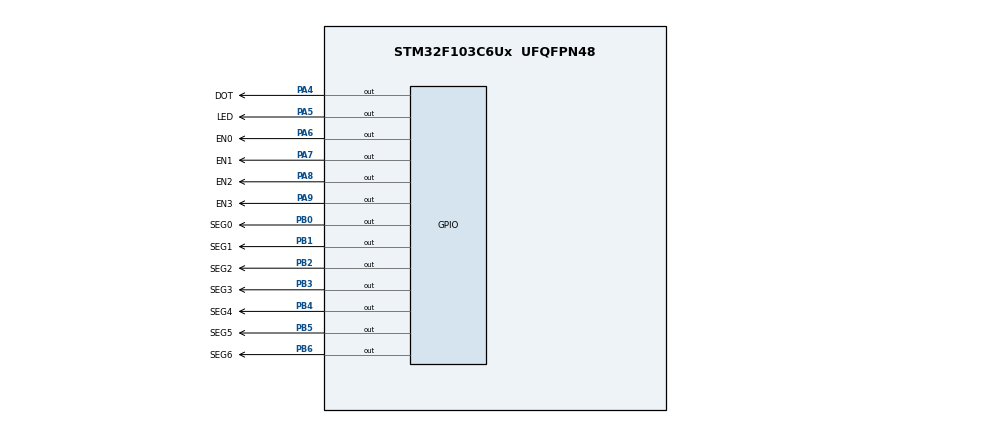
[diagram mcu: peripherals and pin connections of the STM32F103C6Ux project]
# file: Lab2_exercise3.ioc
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Mcu.Family=STM32F1
Mcu.Name=STM32F103C6Ux
Mcu.Package=UFQFPN48
NVIC.PriorityGroup=NVIC_PRIORITYGROUP_4
NVIC.TIM2_IRQn=true\:0\:0\:false\:false\:true\:true\:true
PA4.GPIO_Label=DOT
PA4.Signal=GPIO_Output
PA5.GPIO_Label=LED
PA5.Signal=GPIO_Output
PA6.GPIO_Label=EN0
PA6.Signal=GPIO_Output
PA7.GPIO_Label=EN1
PA7.Signal=GPIO_Output
PA8.GPIO_Label=EN2
PA8.Signal=GPIO_Output
PA9.GPIO_Label=EN3
PA9.Signal=GPIO_Output
PB0.GPIO_Label=SEG0
PB0.Signal=GPIO_Output
PB1.GPIO_Label=SEG1
PB1.Signal=GPIO_Output
PB2.GPIO_Label=SEG2
PB2.Signal=GPIO_Output
PB3.GPIO_Label=SEG3
PB3.Signal=GPIO_Output
PB4.GPIO_Label=SEG4
PB4.Signal=GPIO_Output
PB5.GPIO_Label=SEG5
PB5.Signal=GPIO_Output
PB6.GPIO_Label=SEG6
PB6.Signal=GPIO_Output
ProjectManager.HeapSize=0x200
ProjectManager.StackSize=0x400
ProjectManager.TargetToolchain=STM32CubeIDE
RCC.APB1Freq_Value=8000000
RCC.APB2Freq_Value=8000000
TIM2.Period=499
TIM2.Prescaler=7999
VP_SYS_VS_ND.Mode=No_Debug
VP_TIM2_VS_ClockSourceINT.Mode=Internal
board=custom

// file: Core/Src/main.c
/* USER CODE BEGIN Header */
/**
  ******************************************************************************
  * @file           : main.c
  * @brief          : Main program body
  ******************************************************************************
  * @attention
  *
  * <h2><center>&copy; Copyright (c) 2025 STMicroelectronics.
  * All rights reserved.</center></h2>
  *
  * This software component is licensed by ST under BSD 3-Clause license,
  * the "License"; You may not use this file except in compliance with the
  * License. You may obtain a copy of the License at:
  *                        opensource.org/licenses/BSD-3-Clause
  *
  ******************************************************************************
  */
/* USER CODE END Header */
#include "main.h"
#include "Ex3.h"

TIM_HandleTypeDef htim2;

void SystemClock_Config(void);
static void MX_GPIO_Init(void);
static void MX_TIM2_Init(void);

int main(void)
{

  /* MCU Configuration--------------------------------------------------------*/

  /* Reset of all peripherals, Initializes the Flash interface and the Systick. */
  HAL_Init();

  /* Configure the system clock */
  SystemClock_Config();

  /* Initialize all configured peripherals */
  MX_GPIO_Init();
  MX_TIM2_Init();
  /* USER CODE BEGIN 2 */
  HAL_TIM_Base_Start_IT(&htim2);
  /* USER CODE END 2 */

  /* Infinite loop */
  while (1)
  {

  }
}

void SystemClock_Config(void)
{
  RCC_OscInitTypeDef RCC_OscInitStruct = {0};
  RCC_ClkInitTypeDef RCC_ClkInitStruct = {0};

  /** Initializes the RCC Oscillators according to the specified parameters
  * in the RCC_OscInitTypeDef structure.
  */
  RCC_OscInitStruct.OscillatorType = RCC_OSCILLATORTYPE_HSI;
  RCC_OscInitStruct.HSIState = RCC_HSI_ON;
  RCC_OscInitStruct.HSICalibrationValue = RCC_HSICALIBRATION_DEFAULT;
  RCC_OscInitStruct.PLL.PLLState = RCC_PLL_NONE;
  if (HAL_RCC_OscConfig(&RCC_OscInitStruct) != HAL_OK)
  {
    Error_Handler();
  }
  /** Initializes the CPU, AHB and APB buses clocks
  */
  RCC_ClkInitStruct.ClockType = RCC_CLOCKTYPE_HCLK|RCC_CLOCKTYPE_SYSCLK
                              |RCC_CLOCKTYPE_PCLK1|RCC_CLOCKTYPE_PCLK2;
  RCC_ClkInitStruct.SYSCLKSource = RCC_SYSCLKSOURCE_HSI;
  RCC_ClkInitStruct.AHBCLKDivider = RCC_SYSCLK_DIV1;
  RCC_ClkInitStruct.APB1CLKDivider = RCC_HCLK_DIV1;
  RCC_ClkInitStruct.APB2CLKDivider = RCC_HCLK_DIV1;

  if (HAL_RCC_ClockConfig(&RCC_ClkInitStruct, FLASH_LATENCY_0) != HAL_OK)
  {
    Error_Handler();
  }
}

static void MX_TIM2_Init(void)
{

  TIM_ClockConfigTypeDef sClockSourceConfig = {0};
  TIM_MasterConfigTypeDef sMasterConfig = {0};

  htim2.Instance = TIM2;
  htim2.Init.Prescaler = 7999;
  htim2.Init.CounterMode = TIM_COUNTERMODE_UP;
  htim2.Init.Period = 499;
  htim2.Init.ClockDivision = TIM_CLOCKDIVISION_DIV1;
  htim2.Init.AutoReloadPreload = TIM_AUTORELOAD_PRELOAD_DISABLE;
  if (HAL_TIM_Base_Init(&htim2) != HAL_OK)
  {
    Error_Handler();
  }
  sClockSourceConfig.ClockSource = TIM_CLOCKSOURCE_INTERNAL;
  if (HAL_TIM_ConfigClockSource(&htim2, &sClockSourceConfig) != HAL_OK)
  {
    Error_Handler();
  }
  sMasterConfig.MasterOutputTrigger = TIM_TRGO_RESET;
  sMasterConfig.MasterSlaveMode = TIM_MASTERSLAVEMODE_DISABLE;
  if (HAL_TIMEx_MasterConfigSynchronization(&htim2, &sMasterConfig) != HAL_OK)
  {
    Error_Handler();
  }

}

static void MX_GPIO_Init(void)
{
  GPIO_InitTypeDef GPIO_InitStruct = {0};

  /* GPIO Ports Clock Enable */
  __HAL_RCC_GPIOA_CLK_ENABLE();
  __HAL_RCC_GPIOB_CLK_ENABLE();

  /*Configure GPIO pin Output Level */
  HAL_GPIO_WritePin(GPIOA, DOT_Pin|LED_Pin|EN0_Pin|EN1_Pin
                          |EN2_Pin|EN3_Pin, GPIO_PIN_RESET);

  /*Configure GPIO pin Output Level */
  HAL_GPIO_WritePin(GPIOB, SEG0_Pin|SEG1_Pin|SEG2_Pin|SEG3_Pin
                          |SEG4_Pin|SEG5_Pin|SEG6_Pin, GPIO_PIN_RESET);

  /*Configure GPIO pins : DOT_Pin LED_Pin EN0_Pin EN1_Pin
                           EN2_Pin EN3_Pin */
  GPIO_InitStruct.Pin = DOT_Pin|LED_Pin|EN0_Pin|EN1_Pin
                          |EN2_Pin|EN3_Pin;
  GPIO_InitStruct.Mode = GPIO_MODE_OUTPUT_PP;
  GPIO_InitStruct.Pull = GPIO_NOPULL;
  GPIO_InitStruct.Speed = GPIO_SPEED_FREQ_LOW;
  HAL_GPIO_Init(GPIOA, &GPIO_InitStruct);

  /*Configure GPIO pins : SEG0_Pin SEG1_Pin SEG2_Pin SEG3_Pin
                           SEG4_Pin SEG5_Pin SEG6_Pin */
  GPIO_InitStruct.Pin = SEG0_Pin|SEG1_Pin|SEG2_Pin|SEG3_Pin
                          |SEG4_Pin|SEG5_Pin|SEG6_Pin;
  GPIO_InitStruct.Mode = GPIO_MODE_OUTPUT_PP;
  GPIO_InitStruct.Pull = GPIO_NOPULL;
  GPIO_InitStruct.Speed = GPIO_SPEED_FREQ_LOW;
  HAL_GPIO_Init(GPIOB, &GPIO_InitStruct);

}

/* USER CODE BEGIN 4 */
int counter = 100;
int dot_counter = 0;

void HAL_TIM_PeriodElapsedCallback (TIM_HandleTypeDef *htim){
	counter--;
	if (counter <= 0){
		counter = 100;
		HAL_GPIO_TogglePin(LED_GPIO_Port, LED_Pin);
	}

	update7SEG(index_led);

	index_led++;
	if (index_led >= MAX_LED){
		index_led = 0;
	}

	// DOT Leds blinking every 1s --> 2 interrupt = 1s
	dot_counter++;
	if (dot_counter >= 2){ 		//	2 interrupts = 1s
		HAL_GPIO_TogglePin(DOT_GPIO_Port, DOT_Pin);
		dot_counter = 0;
	}
}
/* USER CODE END 4 */

void Error_Handler(void)
{
  __disable_irq();
  while (1)
  {
  }
}

/************************ (C) COPYRIGHT STMicroelectronics *****END OF FILE****/
